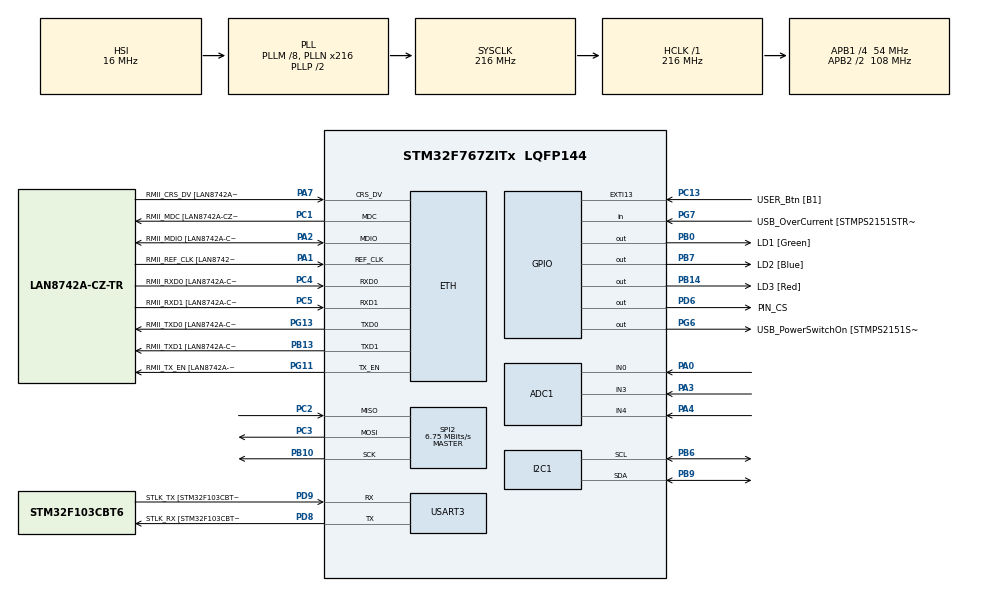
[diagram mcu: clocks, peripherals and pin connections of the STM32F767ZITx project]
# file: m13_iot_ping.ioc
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ADC1.Channel-0\#ChannelRegularConversion=ADC_CHANNEL_0
ADC1.Channel-1\#ChannelRegularConversion=ADC_CHANNEL_3
ADC1.Channel-2\#ChannelRegularConversion=ADC_CHANNEL_4
ADC1.DMAContinuousRequests=ENABLE
ADC1.ExternalTrigConv=ADC_EXTERNALTRIGCONV_T2_TRGO
ADC1.NbrOfConversion=3
ADC1.NbrOfConversionFlag=1
ADC1.Rank-0\#ChannelRegularConversion=1
ADC1.Rank-1\#ChannelRegularConversion=2
ADC1.Rank-2\#ChannelRegularConversion=3
ADC1.SamplingTime-0\#ChannelRegularConversion=ADC_SAMPLETIME_3CYCLES
ADC1.SamplingTime-1\#ChannelRegularConversion=ADC_SAMPLETIME_3CYCLES
ADC1.SamplingTime-2\#ChannelRegularConversion=ADC_SAMPLETIME_3CYCLES
ADC1.master=1
CORTEX_M7.AccessPermission-Cortex_Memory_Protection_Unit_Region1_Settings=MPU_REGION_FULL_ACCESS
CORTEX_M7.AccessPermission-Cortex_Memory_Protection_Unit_Region2_Settings=MPU_REGION_FULL_ACCESS
CORTEX_M7.BaseAddress-Cortex_Memory_Protection_Unit_Region0_Settings=0x9000000
CORTEX_M7.BaseAddress-Cortex_Memory_Protection_Unit_Region1_Settings=0x90000000
CORTEX_M7.BaseAddress-Cortex_Memory_Protection_Unit_Region2_Settings=0x90000000
CORTEX_M7.CPU_DCache=Disabled
CORTEX_M7.CPU_ICache=Disabled
CORTEX_M7.DisableExec-Cortex_Memory_Protection_Unit_Region0_Settings=MPU_INSTRUCTION_ACCESS_DISABLE
CORTEX_M7.DisableExec-Cortex_Memory_Protection_Unit_Region1_Settings=MPU_INSTRUCTION_ACCESS_DISABLE
CORTEX_M7.Enable-Cortex_Memory_Protection_Unit_Region0_Settings=MPU_REGION_ENABLE
CORTEX_M7.Enable-Cortex_Memory_Protection_Unit_Region1_Settings=MPU_REGION_ENABLE
CORTEX_M7.Enable-Cortex_Memory_Protection_Unit_Region2_Settings=MPU_REGION_ENABLE
CORTEX_M7.IsBufferable-Cortex_Memory_Protection_Unit_Region1_Settings=MPU_ACCESS_BUFFERABLE
CORTEX_M7.IsBufferable-Cortex_Memory_Protection_Unit_Region2_Settings=MPU_ACCESS_BUFFERABLE
CORTEX_M7.IsCacheable-Cortex_Memory_Protection_Unit_Region1_Settings=MPU_ACCESS_CACHEABLE
CORTEX_M7.IsCacheable-Cortex_Memory_Protection_Unit_Region2_Settings=MPU_ACCESS_CACHEABLE
CORTEX_M7.MPU_Control=__NULL
CORTEX_M7.PREFETCH_ENABLE=1
CORTEX_M7.Size-Cortex_Memory_Protection_Unit_Region0_Settings=MPU_REGION_SIZE_512MB
CORTEX_M7.Size-Cortex_Memory_Protection_Unit_Region1_Settings=MPU_REGION_SIZE_16MB
CORTEX_M7.Size-Cortex_Memory_Protection_Unit_Region2_Settings=MPU_REGION_SIZE_1MB
Dma.ADC1.0.Direction=DMA_PERIPH_TO_MEMORY
Dma.ADC1.0.FIFOMode=DMA_FIFOMODE_DISABLE
Dma.ADC1.0.Instance=DMA2_Stream0
Dma.ADC1.0.MemDataAlignment=DMA_MDATAALIGN_HALFWORD
Dma.ADC1.0.MemInc=DMA_MINC_ENABLE
Dma.ADC1.0.Mode=DMA_CIRCULAR
Dma.ADC1.0.PeriphDataAlignment=DMA_PDATAALIGN_HALFWORD
Dma.ADC1.0.PeriphInc=DMA_PINC_DISABLE
Dma.ADC1.0.Priority=DMA_PRIORITY_LOW
Dma.Request0=ADC1
ETH.MACAddr=00\:80\:E1\:00\:00\:80
ETH.MediaInterface=HAL_ETH_RMII_MODE
FREERTOS.BinarySemaphores01=SemaphoreMaster,Dynamic,NULL,Available;adcSemaphore,Dynamic,NULL,Available
FREERTOS.Mutexes01=uartMutex,Dynamic,NULL,Available
FREERTOS.Queues01=messageQueue,128,uint32_t,0,Dynamic,NULL,NULL
FREERTOS.Tasks01=defaultTask,2,1024,StartDefaultTask,Default,NULL,Dynamic,NULL,NULL;logMessageTask,1,1024,LogMessageTask,Default,NULL,Dynamic,NULL,NULL;clientTask,0,4096,StartClientTask,Default,NULL,Dynamic,NULL,NULL;serverTask,1,4096,StartServerTask,Default,NULL,Dynamic,NULL,NULL;heartBeatTask,-3,1024,StartHeartBeatTask,Default,NULL,Dynamic,NULL,NULL;BroardCast,-1,4096,StartBroadCast,Default,NULL,Dynamic,NULL,NULL;MasterTask,0,1024,StartMasterTask,Default,NULL,Dynamic,NULL,NULL;ADCTask,-1,1024,StartADCTask,Default,NULL,Dynamic,NULL,NULL;ServBroadcast,-1,4096,StartServerBroadcastTask,Default,NULL,Dynamic,NULL,NULL;RTC,-3,1024,StartRTCTask,Default,NULL,Dynamic,NULL,NULL
FREERTOS.configCHECK_FOR_STACK_OVERFLOW=0
FREERTOS.configMAX_TASK_NAME_LEN=32
FREERTOS.configMINIMAL_STACK_SIZE=1024
FREERTOS.configTOTAL_HEAP_SIZE=384000
FREERTOS.configUSE_NEWLIB_REENTRANT=1
FREERTOS.configUSE_TIMERS=0
I2C1.Timing=0x20404768
LWIP.ARP_TABLE_SIZE=127
LWIP.BSP.number=1
LWIP.ETHARP_SUPPORT_STATIC_ENTRIES=1
LWIP.GATEWAY_ADDRESS=192.168.001.001
LWIP.IP_ADDRESS=192.168.001.180
LWIP.IP_FORWARD=1
LWIP.IP_FORWARD_ALLOW_TX_ON_RX_NETIF=1
LWIP.IP_SOF_BROADCAST=1
LWIP.IP_SOF_BROADCAST_RECV=0
LWIP.LWIP_BROADCAST_PING=1
LWIP.LWIP_DHCP=0
LWIP.LWIP_DNS=1
LWIP.LWIP_ICMP=1
LWIP.LWIP_MULTICAST_PING=1
LWIP.LWIP_RAW=0
LWIP.LWIP_SINGLE_NETIF=0
LWIP.LWIP_SO_RCVTIMEO=1
LWIP.LWIP_SO_SNDTIMEO=0
LWIP.LWIP_TCPIP_CORE_LOCKING=0
LWIP.MEM_SIZE=16000
LWIP.NETMASK_ADDRESS=255.255.255.000
LWIP.Version=v2.1.2_Cube
LWIP0.BSP.STBoard=false
LWIP0.BSP.api=BSP_COMPONENT_DRIVER
LWIP0.BSP.component=LAN8742
LWIP0.BSP.instance=LAN8742
LWIP0.BSP.name=Driver_PHY
LWIP0.BSP.semaphore=S_LAN8742
LWIP0.BSP.solution=LAN8742
Mcu.Family=STM32F7
Mcu.Name=STM32F767ZITx
Mcu.Package=LQFP144
NVIC.DMA2_Stream0_IRQn=true\:5\:0\:false\:false\:true\:true\:false\:true\:true
NVIC.ETH_IRQn=true\:5\:0\:false\:false\:true\:true\:false\:true\:true
NVIC.PriorityGroup=NVIC_PRIORITYGROUP_4
NVIC.TIM1_UP_TIM10_IRQn=true\:15\:0\:false\:false\:true\:false\:false\:true\:true
NVIC.TimeBase=TIM1_UP_TIM10_IRQn
NVIC.TimeBaseIP=TIM1
PA0/WKUP.Signal=ADCx_IN0
PA1.GPIO_Label=RMII_REF_CLK [LAN8742A-CZ-TR_REFCLK0]
PA1.Mode=RMII
PA1.Signal=ETH_REF_CLK
PA10.GPIO_Label=USB_ID
PA10.Signal=USB_OTG_FS_ID
PA11.GPIO_Label=USB_DM
PA11.Signal=USB_OTG_FS_DM
PA12.GPIO_Label=USB_DP
PA12.Signal=USB_OTG_FS_DP
PA13.GPIO_Label=TMS
PA13.Signal=SYS_JTMS-SWDIO
PA14.GPIO_Label=TCK
PA14.Signal=SYS_JTCK-SWCLK
PA2.GPIO_Label=RMII_MDIO [LAN8742A-CZ-TR_MDIO]
PA2.Mode=RMII
PA2.Signal=ETH_MDIO
PA3.Signal=ADCx_IN3
PA4.Signal=ADCx_IN4
PA7.GPIO_Label=RMII_CRS_DV [LAN8742A-CZ-TR_CRS_DV]
PA7.Mode=RMII
PA7.Signal=ETH_CRS_DV
PA8.GPIO_Label=USB_SOF [TP1]
PA8.Signal=USB_OTG_FS_SOF
PA9.GPIO_Label=USB_VBUS
PA9.Signal=USB_OTG_FS_VBUS
PB0.GPIO_Label=LD1 [Green]
PB0.Signal=GPIO_Output
PB10.Mode=Full_Duplex_Master
PB10.Signal=SPI2_SCK
PB13.GPIO_Label=RMII_TXD1 [LAN8742A-CZ-TR_TXD1]
PB13.Mode=RMII
PB13.Signal=ETH_TXD1
PB14.GPIO_Label=LD3 [Red]
PB14.Signal=GPIO_Output
PB3.GPIO_Label=SW0
PB3.Signal=SYS_JTDO-SWO
PB6.Mode=I2C
PB6.Signal=I2C1_SCL
PB7.GPIO_Label=LD2 [Blue]
PB7.Signal=GPIO_Output
PB9.Mode=I2C
PB9.Signal=I2C1_SDA
PC1.GPIO_Label=RMII_MDC [LAN8742A-CZ-TR_MDC]
PC1.Mode=RMII
PC1.Signal=ETH_MDC
PC13.GPIO_Label=USER_Btn [B1]
PC13.Signal=GPXTI13
PC14/OSC32_IN.Signal=RCC_OSC32_IN
PC15/OSC32_OUT.Signal=RCC_OSC32_OUT
PC2.Mode=Full_Duplex_Master
PC2.Signal=SPI2_MISO
PC3.Mode=Full_Duplex_Master
PC3.Signal=SPI2_MOSI
PC4.GPIO_Label=RMII_RXD0 [LAN8742A-CZ-TR_RXD0]
PC4.Mode=RMII
PC4.Signal=ETH_RXD0
PC5.GPIO_Label=RMII_RXD1 [LAN8742A-CZ-TR_RXD1]
PC5.Mode=RMII
PC5.Signal=ETH_RXD1
PD6.GPIO_Label=PIN_CS
PD6.Signal=GPIO_Output
PD8.GPIO_Label=STLK_RX [STM32F103CBT6_PA3]
PD8.Mode=Asynchronous
PD8.Signal=USART3_TX
PD9.GPIO_Label=STLK_TX [STM32F103CBT6_PA2]
PD9.Mode=Asynchronous
PD9.Signal=USART3_RX
PG11.GPIO_Label=RMII_TX_EN [LAN8742A-CZ-TR_TXEN]
PG11.Mode=RMII
PG11.Signal=ETH_TX_EN
PG13.GPIO_Label=RMII_TXD0 [LAN8742A-CZ-TR_TXD0]
PG13.Mode=RMII
PG13.Signal=ETH_TXD0
PG6.GPIO_Label=USB_PowerSwitchOn [STMPS2151STR_EN]
PG6.Signal=GPIO_Output
PG7.GPIO_Label=USB_OverCurrent [STMPS2151STR_FAULT]
PG7.Signal=GPIO_Input
PH0/OSC_IN.GPIO_Label=MCO [STM32F103CBT6_PA8]
PH0/OSC_IN.Mode=HSE-External-Oscillator
PH0/OSC_IN.Signal=RCC_OSC_IN
PH1/OSC_OUT.Mode=HSE-External-Oscillator
PH1/OSC_OUT.Signal=RCC_OSC_OUT
ProjectManager.HeapSize=0x200
ProjectManager.StackSize=0x400
ProjectManager.TargetToolchain=STM32CubeIDE
RCC.48MHZClocksFreq_Value=24000000
RCC.AHBFreq_Value=216000000
RCC.APB1CLKDivider=RCC_HCLK_DIV4
RCC.APB1Freq_Value=54000000
RCC.APB1TimFreq_Value=108000000
RCC.APB2CLKDivider=RCC_HCLK_DIV2
RCC.APB2Freq_Value=108000000
RCC.APB2TimFreq_Value=216000000
RCC.CortexFreq_Value=216000000
RCC.HCLKFreq_Value=216000000
RCC.HSE_VALUE=25000000
RCC.HSI_VALUE=16000000
RCC.LSE_VALUE=32768
RCC.PLLM=8
RCC.PLLMUL=RCC_PLL_MUL9
RCC.PLLN=216
RCC.PRESCALERUSB=RCC_USBCLKSOURCE_PLL_DIV1_5
RCC.SYSCLKFreq_VALUE=216000000
RCC.SYSCLKSource=RCC_SYSCLKSOURCE_PLLCLK
RCC.SYSCLKSourceVirtual=RCC_SYSCLKSOURCE_PLLCLK
RCC.USART3CLockSelection=RCC_USART3CLKSOURCE_HSI
RCC.USBFreq_Value=216000000
RCC.VCOOutputFreq_Value=432000000
SH.ADCx_IN0.0=ADC1_IN0,IN0
SH.ADCx_IN3.0=ADC1_IN3,IN3
SH.ADCx_IN4.0=ADC1_IN4,IN4
SPI2.BaudRatePrescaler=SPI_BAUDRATEPRESCALER_8
SPI2.CalculateBaudRate=6.75 MBits/s
SPI2.DataSize=SPI_DATASIZE_8BIT
SPI2.Direction=SPI_DIRECTION_2LINES
SPI2.Mode=SPI_MODE_MASTER
SPI2.VirtualType=VM_MASTER
TIM2.Period=100-1
TIM2.Prescaler=9600-1
TIM2.TIM_MasterOutputTrigger=TIM_TRGO_UPDATE
USART3.VirtualMode-Asynchronous=VM_ASYNC
VP_FREERTOS_VS_CMSIS_V1.Mode=CMSIS_V1
VP_LWIP_VS_Enabled.Mode=Enabled
VP_RTC_VS_RTC_Activate.Mode=RTC_Enabled
VP_RTC_VS_RTC_Calendar.Mode=RTC_Calendar
VP_SYS_VS_tim1.Mode=TIM1
VP_TIM2_VS_ClockSourceINT.Mode=Internal
board=NUCLEO-F767ZI

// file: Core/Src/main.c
/* USER CODE BEGIN Header */
/**
  ******************************************************************************
  * @file           : main.c
  * @brief          : Main program body
  ******************************************************************************
  * @attention
  *
  * Copyright (c) 2025 STMicroelectronics.
  * All rights reserved.
  *
  * This software is licensed under terms that can be found in the LICENSE file
  * in the root directory of this software component.
  * If no LICENSE file comes with this software, it is provided AS-IS.
  *
  ******************************************************************************
  */
/* USER CODE END Header */
#include "main.h"
#include "cmsis_os.h"
#include "lwip.h"

/* USER CODE BEGIN Includes */

//#include "tasks.h"
#include "Methodes.h"
//#include "ethernetif.h
/* USER CODE END Includes */

ADC_HandleTypeDef hadc1;
DMA_HandleTypeDef hdma_adc1;

I2C_HandleTypeDef hi2c1;

RTC_HandleTypeDef hrtc;

SPI_HandleTypeDef hspi2;

TIM_HandleTypeDef htim2;

UART_HandleTypeDef huart3;

osThreadId defaultTaskHandle;
osThreadId logMessageTaskHandle;
osThreadId clientTaskHandle;
osThreadId serverTaskHandle;
osThreadId heartBeatTaskHandle;
osThreadId BroardCastHandle;
osThreadId MasterTaskHandle;
osThreadId ADCTaskHandle;
osThreadId ServBroadcastHandle;
osThreadId RTCHandle;
osMessageQId messageQueueHandle;
osMutexId uartMutexHandle;
osSemaphoreId SemaphoreMasterHandle;
osSemaphoreId adcSemaphoreHandle;

/* USER CODE BEGIN PV */
char broadcast_ip_list[MAX_IPS][16];
uint8_t ip_count = 0;
uint8_t ip_index = 0;
uint16_t adc_buf[ADC_BUF_LEN];
// Buffer circulaire pour RMS
float rmsBufX[RMS_WINDOW];
float rmsBufY[RMS_WINDOW];
float rmsBufZ[RMS_WINDOW];
uint16_t rmsIndex = 0;
uint8_t rmsFilled = 0;

// Valeurs filtrées
float maX = 0, maY = 0, maZ = 0;
float rmsX = 0, rmsY = 0, rmsZ = 0;

// Baseline RMS (ambiance)
float baselineX = 0.02f, baselineY = 0.02f, baselineZ = 0.02f;

// Seuil de détection (à ajuster selon ton capteur)
float threshold = 0.7;   // RMS au-dessus = secousse
char last_broadcast_ip[16] = "0.0.0.0";
char ts[32];

/* USER CODE END PV */

void SystemClock_Config(void);
static void MX_GPIO_Init(void);
static void MX_DMA_Init(void);
static void MX_USART3_UART_Init(void);
static void MX_RTC_Init(void);
static void MX_ADC1_Init(void);
static void MX_TIM2_Init(void);
static void MX_I2C1_Init(void);
static void MX_SPI2_Init(void);
void StartDefaultTask(void const * argument);
void LogMessageTask(void const * argument);
void StartClientTask(void const * argument);
void StartServerTask(void const * argument);
void StartHeartBeatTask(void const * argument);
void StartBroadCast(void const * argument);
void StartMasterTask(void const * argument);
void StartADCTask(void const * argument);
void StartServerBroadcastTask(void const * argument);
void StartRTCTask(void const * argument);

/* USER CODE BEGIN PFP */
uint8_t BCD_to_DEC(uint8_t val){
    return (val >> 4) * 10 + (val & 0x0F);
}

uint8_t DEC_to_BCD(uint8_t val){
    return ((val / 10) << 4) | (val % 10);
}

/* USER CODE END PFP */

int main(void)
{

  /* MCU Configuration--------------------------------------------------------*/

  /* Reset of all peripherals, Initializes the Flash interface and the Systick. */
  HAL_Init();

  /* Configure the system clock */
  SystemClock_Config();

  /* Initialize all configured peripherals */
  MX_GPIO_Init();
  MX_DMA_Init();
  MX_USART3_UART_Init();
  MX_RTC_Init();
  MX_ADC1_Init();
  MX_TIM2_Init();
  MX_I2C1_Init();
  MX_SPI2_Init();
  /* USER CODE BEGIN 2 */
 /* uint8_t tx = 0x5A;
  uint8_t rx = 0x00;

  FRAM_Write(0x0000, &tx, 1);
  HAL_Delay(1);
  FRAM_Read(0x0000, &rx, 1);

  log_message("FRAM TEST BYTE: TX=0x%02X RX=0x%02X\r\n", tx, rx);
  /* USER CODE END 2 */

  /* Create the mutex(es) */
  /* definition and creation of uartMutex */
  osMutexDef(uartMutex);
  uartMutexHandle = osMutexCreate(osMutex(uartMutex));

  /* Create the semaphores(s) */
  /* definition and creation of SemaphoreMaster */
  osSemaphoreDef(SemaphoreMaster);
  SemaphoreMasterHandle = osSemaphoreCreate(osSemaphore(SemaphoreMaster), 1);
  osSemaphoreWait(SemaphoreMasterHandle, 0);
  /* definition and creation of adcSemaphore */
  osSemaphoreDef(adcSemaphore);
  adcSemaphoreHandle = osSemaphoreCreate(osSemaphore(adcSemaphore), 1);

  /* Create the queue(s) */
  /* definition and creation of messageQueue */
  osMessageQDef(messageQueue, 128, uint32_t);
  messageQueueHandle = osMessageCreate(osMessageQ(messageQueue), NULL);

  /* Create the thread(s) */
  /* definition and creation of defaultTask */
  osThreadDef(defaultTask, StartDefaultTask, osPriorityHigh, 0, 1024);
  defaultTaskHandle = osThreadCreate(osThread(defaultTask), NULL);

  /* definition and creation of logMessageTask */
  osThreadDef(logMessageTask, LogMessageTask, osPriorityAboveNormal, 0, 1024);
  logMessageTaskHandle = osThreadCreate(osThread(logMessageTask), NULL);

  /* definition and creation of clientTask */
  osThreadDef(clientTask, StartClientTask, osPriorityNormal, 0, 4096);
  clientTaskHandle = osThreadCreate(osThread(clientTask), NULL);

  /* definition and creation of serverTask */
  osThreadDef(serverTask, StartServerTask, osPriorityAboveNormal, 0, 4096);
  serverTaskHandle = osThreadCreate(osThread(serverTask), NULL);

  /* definition and creation of heartBeatTask */
  osThreadDef(heartBeatTask, StartHeartBeatTask, osPriorityIdle, 0, 1024);
  heartBeatTaskHandle = osThreadCreate(osThread(heartBeatTask), NULL);

  /* definition and creation of BroardCast */
  osThreadDef(BroardCast, StartBroadCast, osPriorityBelowNormal, 0, 4096);
  BroardCastHandle = osThreadCreate(osThread(BroardCast), NULL);

  /* definition and creation of MasterTask */
  osThreadDef(MasterTask, StartMasterTask, osPriorityNormal, 0, 1024);
  MasterTaskHandle = osThreadCreate(osThread(MasterTask), NULL);

  /* definition and creation of ADCTask */
  osThreadDef(ADCTask, StartADCTask, osPriorityBelowNormal, 0, 1024);
  ADCTaskHandle = osThreadCreate(osThread(ADCTask), NULL);

  /* definition and creation of ServBroadcast */
  osThreadDef(ServBroadcast, StartServerBroadcastTask, osPriorityBelowNormal, 0, 4096);
  ServBroadcastHandle = osThreadCreate(osThread(ServBroadcast), NULL);

  /* definition and creation of RTC */
  osThreadDef(RTC, StartRTCTask, osPriorityIdle, 0, 1024);
  RTCHandle = osThreadCreate(osThread(RTC), NULL);

  osThreadSuspend(serverTaskHandle);
  osThreadSuspend(clientTaskHandle);
  osThreadSuspend(ADCTaskHandle);
  osThreadSuspend(BroardCastHandle);

  /* Start scheduler */
  osKernelStart();

  /* We should never get here as control is now taken by the scheduler */

  /* Infinite loop */
  while (1)
  {

  }
}

void SystemClock_Config(void)
{
  RCC_OscInitTypeDef RCC_OscInitStruct = {0};
  RCC_ClkInitTypeDef RCC_ClkInitStruct = {0};

  /** Configure the main internal regulator output voltage
  */
  __HAL_RCC_PWR_CLK_ENABLE();
  __HAL_PWR_VOLTAGESCALING_CONFIG(PWR_REGULATOR_VOLTAGE_SCALE1);

  /** Initializes the RCC Oscillators according to the specified parameters
  * in the RCC_OscInitTypeDef structure.
  */
  RCC_OscInitStruct.OscillatorType = RCC_OSCILLATORTYPE_HSI|RCC_OSCILLATORTYPE_LSI;
  RCC_OscInitStruct.HSIState = RCC_HSI_ON;
  RCC_OscInitStruct.HSICalibrationValue = RCC_HSICALIBRATION_DEFAULT;
  RCC_OscInitStruct.LSIState = RCC_LSI_ON;
  RCC_OscInitStruct.PLL.PLLState = RCC_PLL_ON;
  RCC_OscInitStruct.PLL.PLLSource = RCC_PLLSOURCE_HSI;
  RCC_OscInitStruct.PLL.PLLM = 8;
  RCC_OscInitStruct.PLL.PLLN = 216;
  RCC_OscInitStruct.PLL.PLLP = RCC_PLLP_DIV2;
  RCC_OscInitStruct.PLL.PLLQ = 2;
  RCC_OscInitStruct.PLL.PLLR = 2;
  if (HAL_RCC_OscConfig(&RCC_OscInitStruct) != HAL_OK)
  {
    Error_Handler();
  }

  /** Activate the Over-Drive mode
  */
  if (HAL_PWREx_EnableOverDrive() != HAL_OK)
  {
    Error_Handler();
  }

  /** Initializes the CPU, AHB and APB buses clocks
  */
  RCC_ClkInitStruct.ClockType = RCC_CLOCKTYPE_HCLK|RCC_CLOCKTYPE_SYSCLK
                              |RCC_CLOCKTYPE_PCLK1|RCC_CLOCKTYPE_PCLK2;
  RCC_ClkInitStruct.SYSCLKSource = RCC_SYSCLKSOURCE_PLLCLK;
  RCC_ClkInitStruct.AHBCLKDivider = RCC_SYSCLK_DIV1;
  RCC_ClkInitStruct.APB1CLKDivider = RCC_HCLK_DIV4;
  RCC_ClkInitStruct.APB2CLKDivider = RCC_HCLK_DIV2;

  if (HAL_RCC_ClockConfig(&RCC_ClkInitStruct, FLASH_LATENCY_7) != HAL_OK)
  {
    Error_Handler();
  }
}

static void MX_ADC1_Init(void)
{

  ADC_ChannelConfTypeDef sConfig = {0};

  /** Configure the global features of the ADC (Clock, Resolution, Data Alignment and number of conversion)
  */
  hadc1.Instance = ADC1;
  hadc1.Init.ClockPrescaler = ADC_CLOCK_SYNC_PCLK_DIV4;
  hadc1.Init.Resolution = ADC_RESOLUTION_12B;
  hadc1.Init.ScanConvMode = ADC_SCAN_ENABLE;
  hadc1.Init.ContinuousConvMode = DISABLE;
  hadc1.Init.DiscontinuousConvMode = DISABLE;
  hadc1.Init.ExternalTrigConvEdge = ADC_EXTERNALTRIGCONVEDGE_RISING;
  hadc1.Init.ExternalTrigConv = ADC_EXTERNALTRIGCONV_T2_TRGO;
  hadc1.Init.DataAlign = ADC_DATAALIGN_RIGHT;
  hadc1.Init.NbrOfConversion = 3;
  hadc1.Init.DMAContinuousRequests = ENABLE;
  hadc1.Init.EOCSelection = ADC_EOC_SINGLE_CONV;
  if (HAL_ADC_Init(&hadc1) != HAL_OK)
  {
    Error_Handler();
  }

  /** Configure for the selected ADC regular channel its corresponding rank in the sequencer and its sample time.
  */
  sConfig.Channel = ADC_CHANNEL_0;
  sConfig.Rank = ADC_REGULAR_RANK_1;
  sConfig.SamplingTime = ADC_SAMPLETIME_3CYCLES;
  if (HAL_ADC_ConfigChannel(&hadc1, &sConfig) != HAL_OK)
  {
    Error_Handler();
  }

  /** Configure for the selected ADC regular channel its corresponding rank in the sequencer and its sample time.
  */
  sConfig.Channel = ADC_CHANNEL_3;
  sConfig.Rank = ADC_REGULAR_RANK_2;
  if (HAL_ADC_ConfigChannel(&hadc1, &sConfig) != HAL_OK)
  {
    Error_Handler();
  }

  /** Configure for the selected ADC regular channel its corresponding rank in the sequencer and its sample time.
  */
  sConfig.Channel = ADC_CHANNEL_4;
  sConfig.Rank = ADC_REGULAR_RANK_3;
  if (HAL_ADC_ConfigChannel(&hadc1, &sConfig) != HAL_OK)
  {
    Error_Handler();
  }

}

static void MX_I2C1_Init(void)
{

  hi2c1.Instance = I2C1;
  hi2c1.Init.Timing = 0x20404768;
  hi2c1.Init.OwnAddress1 = 0;
  hi2c1.Init.AddressingMode = I2C_ADDRESSINGMODE_7BIT;
  hi2c1.Init.DualAddressMode = I2C_DUALADDRESS_DISABLE;
  hi2c1.Init.OwnAddress2 = 0;
  hi2c1.Init.OwnAddress2Masks = I2C_OA2_NOMASK;
  hi2c1.Init.GeneralCallMode = I2C_GENERALCALL_DISABLE;
  hi2c1.Init.NoStretchMode = I2C_NOSTRETCH_DISABLE;
  if (HAL_I2C_Init(&hi2c1) != HAL_OK)
  {
    Error_Handler();
  }

  /** Configure Analogue filter
  */
  if (HAL_I2CEx_ConfigAnalogFilter(&hi2c1, I2C_ANALOGFILTER_ENABLE) != HAL_OK)
  {
    Error_Handler();
  }

  /** Configure Digital filter
  */
  if (HAL_I2CEx_ConfigDigitalFilter(&hi2c1, 0) != HAL_OK)
  {
    Error_Handler();
  }

}

static void MX_RTC_Init(void)
{

  RTC_TimeTypeDef sTime = {0};
  RTC_DateTypeDef sDate = {0};

  /** Initialize RTC Only
  */
  hrtc.Instance = RTC;
  hrtc.Init.HourFormat = RTC_HOURFORMAT_24;
  hrtc.Init.AsynchPrediv = 127;
  hrtc.Init.SynchPrediv = 255;
  hrtc.Init.OutPut = RTC_OUTPUT_DISABLE;
  hrtc.Init.OutPutPolarity = RTC_OUTPUT_POLARITY_HIGH;
  hrtc.Init.OutPutType = RTC_OUTPUT_TYPE_OPENDRAIN;
  if (HAL_RTC_Init(&hrtc) != HAL_OK)
  {
    Error_Handler();
  }

  /** Initialize RTC and set the Time and Date
  */
  sTime.Hours = 0x0;
  sTime.Minutes = 0x0;
  sTime.Seconds = 0x0;
  sTime.DayLightSaving = RTC_DAYLIGHTSAVING_NONE;
  sTime.StoreOperation = RTC_STOREOPERATION_RESET;
  if (HAL_RTC_SetTime(&hrtc, &sTime, RTC_FORMAT_BCD) != HAL_OK)
  {
    Error_Handler();
  }
  sDate.WeekDay = RTC_WEEKDAY_MONDAY;
  sDate.Month = RTC_MONTH_JANUARY;
  sDate.Date = 0x1;
  sDate.Year = 0x0;

  if (HAL_RTC_SetDate(&hrtc, &sDate, RTC_FORMAT_BCD) != HAL_OK)
  {
    Error_Handler();
  }

}

static void MX_SPI2_Init(void)
{

  /* SPI2 parameter configuration*/
  hspi2.Instance = SPI2;
  hspi2.Init.Mode = SPI_MODE_MASTER;
  hspi2.Init.Direction = SPI_DIRECTION_2LINES;
  hspi2.Init.DataSize = SPI_DATASIZE_8BIT;
  hspi2.Init.CLKPolarity = SPI_POLARITY_LOW;
  hspi2.Init.CLKPhase = SPI_PHASE_1EDGE;
  hspi2.Init.NSS = SPI_NSS_SOFT;
  hspi2.Init.BaudRatePrescaler = SPI_BAUDRATEPRESCALER_8;
  hspi2.Init.FirstBit = SPI_FIRSTBIT_MSB;
  hspi2.Init.TIMode = SPI_TIMODE_DISABLE;
  hspi2.Init.CRCCalculation = SPI_CRCCALCULATION_DISABLE;
  hspi2.Init.CRCPolynomial = 7;
  hspi2.Init.CRCLength = SPI_CRC_LENGTH_DATASIZE;
  hspi2.Init.NSSPMode = SPI_NSS_PULSE_ENABLE;
  if (HAL_SPI_Init(&hspi2) != HAL_OK)
  {
    Error_Handler();
  }

}

static void MX_TIM2_Init(void)
{

  TIM_ClockConfigTypeDef sClockSourceConfig = {0};
  TIM_MasterConfigTypeDef sMasterConfig = {0};

  htim2.Instance = TIM2;
  htim2.Init.Prescaler = 9600-1;
  htim2.Init.CounterMode = TIM_COUNTERMODE_UP;
  htim2.Init.Period = 100-1;
  htim2.Init.ClockDivision = TIM_CLOCKDIVISION_DIV1;
  htim2.Init.AutoReloadPreload = TIM_AUTORELOAD_PRELOAD_DISABLE;
  if (HAL_TIM_Base_Init(&htim2) != HAL_OK)
  {
    Error_Handler();
  }
  sClockSourceConfig.ClockSource = TIM_CLOCKSOURCE_INTERNAL;
  if (HAL_TIM_ConfigClockSource(&htim2, &sClockSourceConfig) != HAL_OK)
  {
    Error_Handler();
  }
  sMasterConfig.MasterOutputTrigger = TIM_TRGO_UPDATE;
  sMasterConfig.MasterSlaveMode = TIM_MASTERSLAVEMODE_DISABLE;
  if (HAL_TIMEx_MasterConfigSynchronization(&htim2, &sMasterConfig) != HAL_OK)
  {
    Error_Handler();
  }

}

static void MX_USART3_UART_Init(void)
{

  huart3.Instance = USART3;
  huart3.Init.BaudRate = 115200;
  huart3.Init.WordLength = UART_WORDLENGTH_8B;
  huart3.Init.StopBits = UART_STOPBITS_1;
  huart3.Init.Parity = UART_PARITY_NONE;
  huart3.Init.Mode = UART_MODE_TX_RX;
  huart3.Init.HwFlowCtl = UART_HWCONTROL_NONE;
  huart3.Init.OverSampling = UART_OVERSAMPLING_16;
  huart3.Init.OneBitSampling = UART_ONE_BIT_SAMPLE_DISABLE;
  huart3.AdvancedInit.AdvFeatureInit = UART_ADVFEATURE_NO_INIT;
  if (HAL_UART_Init(&huart3) != HAL_OK)
  {
    Error_Handler();
  }

}

static void MX_DMA_Init(void)
{

  /* DMA controller clock enable */
  __HAL_RCC_DMA2_CLK_ENABLE();

  /* DMA interrupt init */
  /* DMA2_Stream0_IRQn interrupt configuration */
  HAL_NVIC_SetPriority(DMA2_Stream0_IRQn, 5, 0);
  HAL_NVIC_EnableIRQ(DMA2_Stream0_IRQn);

}

static void MX_GPIO_Init(void)
{
  GPIO_InitTypeDef GPIO_InitStruct = {0};

  /* GPIO Ports Clock Enable */
  __HAL_RCC_GPIOC_CLK_ENABLE();
  __HAL_RCC_GPIOH_CLK_ENABLE();
  __HAL_RCC_GPIOA_CLK_ENABLE();
  __HAL_RCC_GPIOB_CLK_ENABLE();
  __HAL_RCC_GPIOD_CLK_ENABLE();
  __HAL_RCC_GPIOG_CLK_ENABLE();

  /*Configure GPIO pin Output Level */
  HAL_GPIO_WritePin(GPIOB, LD1_Pin|LD3_Pin|LD2_Pin, GPIO_PIN_RESET);

  /*Configure GPIO pin Output Level */
  HAL_GPIO_WritePin(USB_PowerSwitchOn_GPIO_Port, USB_PowerSwitchOn_Pin, GPIO_PIN_RESET);

  /*Configure GPIO pin Output Level */
  HAL_GPIO_WritePin(PIN_CS_GPIO_Port, PIN_CS_Pin, GPIO_PIN_RESET);

  /*Configure GPIO pin : USER_Btn_Pin */
  GPIO_InitStruct.Pin = USER_Btn_Pin;
  GPIO_InitStruct.Mode = GPIO_MODE_IT_RISING;
  GPIO_InitStruct.Pull = GPIO_NOPULL;
  HAL_GPIO_Init(USER_Btn_GPIO_Port, &GPIO_InitStruct);

  /*Configure GPIO pins : LD1_Pin LD3_Pin LD2_Pin */
  GPIO_InitStruct.Pin = LD1_Pin|LD3_Pin|LD2_Pin;
  GPIO_InitStruct.Mode = GPIO_MODE_OUTPUT_PP;
  GPIO_InitStruct.Pull = GPIO_NOPULL;
  GPIO_InitStruct.Speed = GPIO_SPEED_FREQ_LOW;
  HAL_GPIO_Init(GPIOB, &GPIO_InitStruct);

  /*Configure GPIO pin : USB_PowerSwitchOn_Pin */
  GPIO_InitStruct.Pin = USB_PowerSwitchOn_Pin;
  GPIO_InitStruct.Mode = GPIO_MODE_OUTPUT_PP;
  GPIO_InitStruct.Pull = GPIO_NOPULL;
  GPIO_InitStruct.Speed = GPIO_SPEED_FREQ_LOW;
  HAL_GPIO_Init(USB_PowerSwitchOn_GPIO_Port, &GPIO_InitStruct);

  /*Configure GPIO pin : USB_OverCurrent_Pin */
  GPIO_InitStruct.Pin = USB_OverCurrent_Pin;
  GPIO_InitStruct.Mode = GPIO_MODE_INPUT;
  GPIO_InitStruct.Pull = GPIO_NOPULL;
  HAL_GPIO_Init(USB_OverCurrent_GPIO_Port, &GPIO_InitStruct);

  /*Configure GPIO pins : USB_SOF_Pin USB_ID_Pin USB_DM_Pin USB_DP_Pin */
  GPIO_InitStruct.Pin = USB_SOF_Pin|USB_ID_Pin|USB_DM_Pin|USB_DP_Pin;
  GPIO_InitStruct.Mode = GPIO_MODE_AF_PP;
  GPIO_InitStruct.Pull = GPIO_NOPULL;
  GPIO_InitStruct.Speed = GPIO_SPEED_FREQ_VERY_HIGH;
  GPIO_InitStruct.Alternate = GPIO_AF10_OTG_FS;
  HAL_GPIO_Init(GPIOA, &GPIO_InitStruct);

  /*Configure GPIO pin : USB_VBUS_Pin */
  GPIO_InitStruct.Pin = USB_VBUS_Pin;
  GPIO_InitStruct.Mode = GPIO_MODE_INPUT;
  GPIO_InitStruct.Pull = GPIO_NOPULL;
  HAL_GPIO_Init(USB_VBUS_GPIO_Port, &GPIO_InitStruct);

  /*Configure GPIO pin : PIN_CS_Pin */
  GPIO_InitStruct.Pin = PIN_CS_Pin;
  GPIO_InitStruct.Mode = GPIO_MODE_OUTPUT_PP;
  GPIO_InitStruct.Pull = GPIO_NOPULL;
  GPIO_InitStruct.Speed = GPIO_SPEED_FREQ_LOW;
  HAL_GPIO_Init(PIN_CS_GPIO_Port, &GPIO_InitStruct);

}

/* USER CODE BEGIN 4 */
void HAL_ADC_ConvCpltCallback(ADC_HandleTypeDef* hadc)
{
    if(hadc->Instance == ADC1)
        osSemaphoreRelease(adcSemaphoreHandle);
}
void HAL_GPIO_EXTI_Callback(uint16_t GPIO_Pin)
{
    if (GPIO_Pin == USER_Btn_Pin)
    {
        BaseType_t xHigherPriorityTaskWoken = pdFALSE;

        osSemaphoreReleaseFromISR(SemaphoreMasterHandle);

        portYIELD_FROM_ISR(xHigherPriorityTaskWoken);
    }
}

/* USER CODE END 4 */

void StartDefaultTask(void const * argument)
{
  /* init code for LWIP */
  MX_LWIP_Init();
  /* USER CODE BEGIN 5 */
	ip_addr_t dnsserver;
	IP4_ADDR(&dnsserver, 8, 8, 8, 8); //ajout d'un DNS
	dns_setserver(0, &dnsserver);
	fram_clear_top10();
	/* Infinite loop */
	for(;;)
	{
		osDelay(1000);
		if (!is_synced) {
			sync_rtc_with_ntp();
		}
	}
  /* USER CODE END 5 */
}

void LogMessageTask(void const * argument)
{
  /* USER CODE BEGIN LogMessageTask */

	 /* USER CODE BEGIN LogMessageTask */
	 /* Infinite loop */
	Message_t msg;
	for (;;){
		 osEvent evt =osMessageGet(messageQueueHandle,200);
		 if(evt.status== osEventMessage) {
		 msg=*(Message_t *)evt.value.p;
		 osMutexWait(uartMutexHandle,osWaitForever); //not necessary
		 HAL_UART_Transmit(&huart3,(uint8_t *)&msg.text, strlen(msg.text),
		 HAL_MAX_DELAY);
		 osMutexRelease(uartMutexHandle); //not necessary
	}
	osDelay(100);
  }

  /* USER CODE END LogMessageTask */
}

void StartHeartBeatTask(void const * argument)
{
  /* USER CODE BEGIN StartHeartBeatTask */
  /* Infinite loop */
	for(;;)
	{
		HAL_GPIO_TogglePin(GPIOB,GPIO_PIN_7);
		osDelay(500);
	}
  /* USER CODE END StartHeartBeatTask */
}

void StartMasterTask(void const * argument)
{
  /* USER CODE BEGIN StartMasterTask */
	log_message("MasterTask started. Waiting for user button...\r\n");

	    GPIO_PinState lastState = GPIO_PIN_RESET;

	    for(;;)
	    {
	        GPIO_PinState curr = HAL_GPIO_ReadPin(USER_Btn_GPIO_Port, USER_Btn_Pin);

	        if(curr == GPIO_PIN_SET && lastState == GPIO_PIN_RESET)
	        {
	            // Anti-rebond
	            osDelay(50);

	            //if(HAL_GPIO_ReadPin(USER_Btn_GPIO_Port, USER_Btn_Pin) == GPIO_PIN_SET)
	            //{
	                log_message("User button pressed. Starting system...\r\n");

	                osThreadResume(serverTaskHandle);
	                osThreadResume(clientTaskHandle);
	                osThreadResume(ADCTaskHandle);
	                osThreadResume(BroardCastHandle);
	            //}
	        }

	        lastState = curr;
	        osDelay(20);
	    }
  /* USER CODE END StartMasterTask */
}

void StartRTCTask(void const * argument)
{
  /* USER CODE BEGIN StartRTCTask */
  /* Infinite loop */
    RTC_TimeTypeDef sTime;
    RTC_DateTypeDef sDate;
    RTC_extern rtc;
    bool external_rtc_updated = false;
    for (;;)
    {
        /* 1️⃣ Attendre que le NTP ait synchronisé l’RTC interne */
        if (is_synced && !external_rtc_updated)
        {
            /* Lire l’heure RTC STM32 */
            HAL_RTC_GetTime(&hrtc, &sTime, RTC_FORMAT_BIN);
            HAL_RTC_GetDate(&hrtc, &sDate, RTC_FORMAT_BIN); // obligatoire après GetTime

            log_message("[RTC] STM32 RTC = %02d:%02d:%02d  %02d/%02d/20%02d\r\n",
                        sTime.Hours,
                        sTime.Minutes,
                        sTime.Seconds,
                        sDate.Date,
                        sDate.Month,
                        sDate.Year);
            rtc.hours=sTime.Hours;
            rtc.minutes=sTime.Minutes;
            rtc.seconds= sTime.Seconds;
            rtc.date = sDate.Date;
            rtc.month = sDate.Month;
            rtc.year = sDate.Year;
            rtc.day = sDate.WeekDay;
            /* 2️⃣ Écrire dans la RTC externe (BQ32000) */
            if (RTC_SetTime(rtc) == HAL_OK)
            {
                log_message("[RTC] External RTC updated successfully\r\n");
                external_rtc_updated = true;
            }
            else
            {
                log_message("[RTC] ERROR updating external RTC\r\n");
            }
        }

        /* 3️⃣ Rafraîchissement lent (ou périodique si tu veux resync) */
        osDelay(1000);
    }
  /* USER CODE END StartRTCTask */
}

void HAL_TIM_PeriodElapsedCallback(TIM_HandleTypeDef *htim)
{
  if (htim->Instance == TIM1)
  {
    HAL_IncTick();
  }
}

void Error_Handler(void)
{
  __disable_irq();
  while (1)
  {
  }
}

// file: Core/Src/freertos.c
/* USER CODE BEGIN Header */
/**
  ******************************************************************************
  * File Name          : freertos.c
  * Description        : Code for freertos applications
  ******************************************************************************
  * @attention
  *
  * Copyright (c) 2025 STMicroelectronics.
  * All rights reserved.
  *
  * This software is licensed under terms that can be found in the LICENSE file
  * in the root directory of this software component.
  * If no LICENSE file comes with this software, it is provided AS-IS.
  *
  ******************************************************************************
  */
/* USER CODE END Header */

#include "FreeRTOS.h"
#include "task.h"
#include "main.h"

/* GetIdleTaskMemory prototype (linked to static allocation support) */
void vApplicationGetIdleTaskMemory( StaticTask_t **ppxIdleTaskTCBBuffer, StackType_t **ppxIdleTaskStackBuffer, uint32_t *pulIdleTaskStackSize );

/* Hook prototypes */
void vApplicationStackOverflowHook(xTaskHandle xTask, signed char *pcTaskName);

/* USER CODE BEGIN 4 */
__weak void vApplicationStackOverflowHook(xTaskHandle xTask, signed char *pcTaskName)
{
   /* Run time stack overflow checking is performed if
   configCHECK_FOR_STACK_OVERFLOW is defined to 1 or 2. This hook function is
   called if a stack overflow is detected. */
}
/* USER CODE END 4 */

/* USER CODE BEGIN GET_IDLE_TASK_MEMORY */
static StaticTask_t xIdleTaskTCBBuffer;
static StackType_t xIdleStack[configMINIMAL_STACK_SIZE];

void vApplicationGetIdleTaskMemory( StaticTask_t **ppxIdleTaskTCBBuffer, StackType_t **ppxIdleTaskStackBuffer, uint32_t *pulIdleTaskStackSize )
{
  *ppxIdleTaskTCBBuffer = &xIdleTaskTCBBuffer;
  *ppxIdleTaskStackBuffer = &xIdleStack[0];
  *pulIdleTaskStackSize = configMINIMAL_STACK_SIZE;
  /* place for user code */
}
/* USER CODE END GET_IDLE_TASK_MEMORY */
